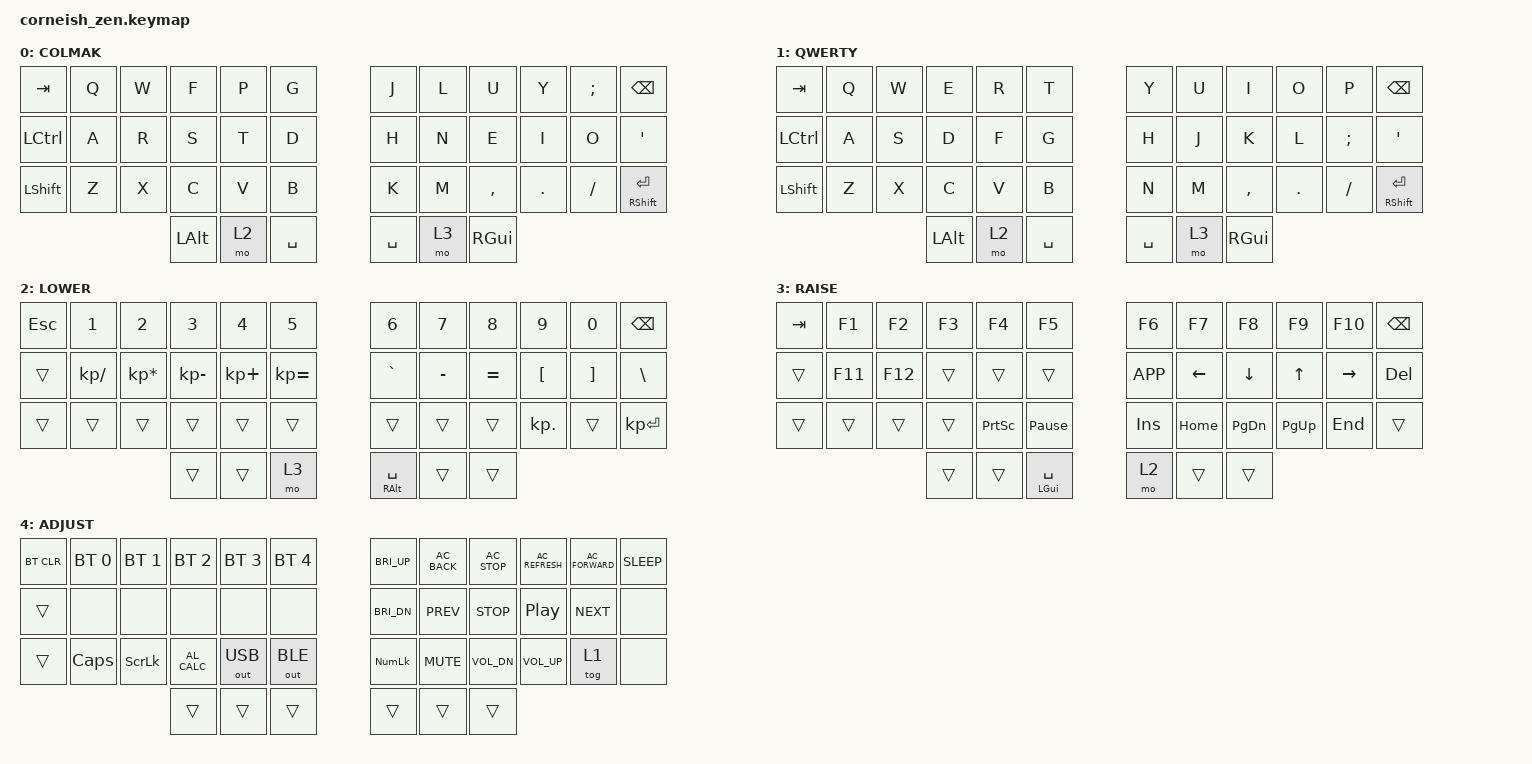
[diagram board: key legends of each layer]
/*
*
* Copyright (c) 2021 Darryl deHaan
* SPDX-License-Identifier: MIT
*
*/

#include <behaviors.dtsi>
#include <dt-bindings/zmk/keys.h>
#include <dt-bindings/zmk/bt.h>
#include <dt-bindings/zmk/outputs.h>

/ {
  chosen {
    zmk,matrix_transform = &default_transform;
    //zmk,matrix_transform = &five_column_transform;
  };
};

/ {
        conditional_layers {
                compatible = "zmk,conditional-layers";
                tri_layer {
                        if-layers = <2 3>;
                        then-layer = <4>;
                };
        };
        keymap {
                compatible = "zmk,keymap";

                default_layer {
                        label = "COLMAK";
// -------------------------------------------------------------------------------------------------------
// |  TAB  |   Q   |   W   |   F   |   P   |   G   |     |   J   |   L   |   U   |   Y   |   ;   | BSPC  |
// |  CTRL |   A   |   R   |   S   |   T   |   D   |     |   H   |   N   |   E   |   I   |   O   |   '   |
// | SHIFT |   Z   |   X   |   C   |   V   |   B   |     |   K   |   M   |   ,   |   .   |   /   | ENTER |
//                     |  ALT  | LOWER |   SPACE   |     |   SPACE   | RAISE |  GUI  |
                        bindings = <
   &kp TAB   &kp Q     &kp W     &kp F     &kp P     &kp G        &kp J     &kp L     &kp U     &kp Y     &kp SEMI  &kp BSPC
   &kp LCTRL &kp A     &kp R     &kp S     &kp T     &kp D        &kp H     &kp N     &kp E     &kp I     &kp O     &kp APOS
   &kp LSHFT &kp Z     &kp X     &kp C     &kp V     &kp B        &kp K     &kp M     &kp COMMA &kp DOT   &kp SLASH &mt RSHFT ENTER
                                  &kp LALT &mo 2 &kp SPACE        &kp SPACE &mo 3 &kp RGUI
                        >;
                };
                
                qwerty_layer {
                        label = "QWERTY";
// -------------------------------------------------------------------------------------------------------
// |  TAB  |   Q   |   W   |   E   |   R   |   T   |     |   Y   |   U   |   I   |   O   |   P   | BSPC  |
// |  CTRL |   A   |   S   |   D   |   F   |   G   |     |   H   |   J   |   K   |   L   |   ;   |   '   |
// | SHIFT |   Z   |   X   |   C   |   V   |   B   |     |   N   |   M   |   ,   |   .   |   /   | ENTER |
//                     |  ALT  | LOWER |   SPACE   |     |   SPACE   | RAISE |  GUI  |
                        bindings = <
   &kp TAB   &kp Q     &kp W     &kp E     &kp R     &kp T        &kp Y     &kp U     &kp I     &kp O     &kp P     &kp BSPC
   &kp LCTRL &kp A     &kp S     &kp D     &kp F     &kp G        &kp H     &kp J     &kp K     &kp L     &kp SEMI  &kp APOS
   &kp LSHFT &kp Z     &kp X     &kp C     &kp V     &kp B        &kp N     &kp M     &kp COMMA &kp DOT   &kp SLASH &mt RSHFT ENTER
                                  &kp LALT &mo 2 &kp SPACE        &kp SPACE &mo 3 &kp RGUI
                        >;
                };
                
                lower_layer {
                        label = "LOWER";
// -------------------------------------------------------------------------------------------------------
// |  ESC  |   1   |   2   |   3   |   4   |   5   |     |   6   |   7   |   8   |   9   |   0   | BSPC  |
// |       |   ÷   |   ×   |   -   |   +   |   =   |     |   `   |   -   |   =   |   [   |   ]   |   \   |
// |       |       |       |       |       |       |     |       |       |       |   .   |       | ENTER |
//                     |       |       |   RAISE   |     | ALT/SPACE |       |       |
                        bindings = <
   &kp ESC &kp N1        &kp N2          &kp N3       &kp N4      &kp N5              &kp N6    &kp N7    &kp N8    &kp N9     &kp N0   &kp BSPC
   &trans  &kp KP_DIVIDE &kp KP_MULTIPLY &kp KP_MINUS &kp KP_PLUS &kp KP_EQUAL        &kp GRAVE &kp MINUS &kp EQUAL &kp LBKT   &kp RBKT &kp BSLH
   &trans  &trans        &trans          &trans       &trans      &trans              &trans    &trans    &trans    &kp KP_DOT &trans   &kp KP_ENTER
                                                           &trans &trans &mo 3        &mt RALT SPACE &trans &trans
                        >;
                };

                raise_layer {
                        label = "RAISE";
// -------------------------------------------------------------------------------------------------------
// |  TAB  |   F1  |   F2  |   F3  |   F4  |   F5  |     |   F6  |   F7  |   F8  |   F9  |  F10  | BSPC  |
// |       |  F11  |  F12  |       |       |       |     |  APP  |   ←   |   ↓   |   ↑   |   →   |  DEL  |
// |       |       |       |       | PSCRN | BREAK |     |  INS  | HOME  | PG DN | PG UP |  END  |       |
//                     |       |       | GUI/SPACE |     |   LOWER   |       |       |
                        bindings = <
   &kp TAB &kp F1  &kp F2  &kp F3 &kp F4    &kp F5                 &kp F6    &kp F7   &kp F8    &kp F9    &kp F10   &kp BSPC
   &trans  &kp F11 &kp F12 &trans &trans    &trans                 &kp K_APP &kp LEFT &kp DOWN  &kp UP    &kp RIGHT &kp DEL
   &trans  &trans  &trans  &trans &kp PSCRN &kp PAUSE_BREAK        &kp INS   &kp HOME &kp PG_DN &kp PG_UP &kp END   &trans
                               &trans &trans &mt LGUI SPACE        &mo 2 &trans &trans
                        >;
                };
                
                adjust_layer {
                        label = "ADJUST";
// -------------------------------------------------------------------------------------------------------
// | BTCLR |  BT1  |  BT2  |  BT3  |  BT4  |  BT5  |     | BRIUP | BACK  | STOP  | RFRSH |  FWD  | SLEEP |
// |       | ----- | ----- | ----- | ----- | ----- |     | BRIDN | PREV  | STOP  | PLAY  | NEXT  | ----- |
// |       | CAPS  | SCROL |  CALC |  USB  |  BLE  |     |  NUM  | MUTE  | VOLUP | VOLDN | LAYER | ----- |
//                     |       |       |           |     |           |       |       |
                        bindings = <
   &bt BT_CLR &bt BT_SEL 0 &bt BT_SEL 1 &bt BT_SEL 2  &bt BT_SEL 3 &bt BT_SEL 4        &kp C_BRI_UP &kp C_AC_BACK &kp C_AC_STOP &kp C_AC_REFRESH &kp C_AC_FORWARD &kp K_SLEEP
   &trans     &none        &none        &none         &none        &none               &kp C_BRI_DN &kp C_PREV    &kp C_STOP    &kp C_PLAY_PAUSE &kp C_NEXT       &none
   &trans     &kp CLCK     &kp SLCK     &kp C_AL_CALC &out OUT_USB &out OUT_BLE        &kp KP_NLCK  &kp C_MUTE    &kp C_VOL_DN  &kp C_VOL_UP     &tog 1           &none
                                                           &trans &trans &trans        &trans &trans &trans
                        >;
                };
        };
};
